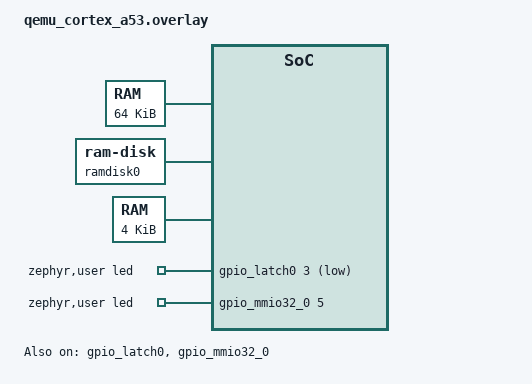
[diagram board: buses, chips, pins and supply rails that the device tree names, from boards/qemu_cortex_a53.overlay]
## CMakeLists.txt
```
# Copyright The Zephyr Project Contributors
# SPDX-License-Identifier: Apache-2.0

cmake_minimum_required(VERSION 3.28.0)

find_package(Zephyr REQUIRED HINTS $ENV{ZEPHYR_BASE})
project(llext_dynamic_device)

target_sources(app PRIVATE src/main.c src/driver_module.c)

# For each extension: the driver built into it, the node label of the device
# that driver defines and the name src/driver_ext.c exports that device as
set(ext_latch_driver gpio_mmio_latch.c)
set(ext_latch_node gpio_latch0)
set(ext_latch_sym gpio_latch_device)
set(ext_mmio32_driver gpio_mmio32.c)
set(ext_mmio32_node gpio_mmio32_0)
set(ext_mmio32_sym gpio_mmio32_device)
set(ext_names latch mmio32)

set(ext_bins)
foreach(ext_name ${ext_names})
  set(ext_bin ${PROJECT_BINARY_DIR}/llext/${ext_name}.llext)
  add_llext_target(${ext_name}_ext
    OUTPUT  ${ext_bin}
    SOURCES
      src/driver_ext.c
      ${ZEPHYR_BASE}/drivers/gpio/${ext_${ext_name}_driver}
  )
  llext_compile_definitions(${ext_name}_ext
    DRIVER_EXT_NODE=${ext_${ext_name}_node}
    DRIVER_EXT_SYM=${ext_${ext_name}_sym}
  )
  list(APPEND ext_bins ${ext_bin})

  if(NOT CONFIG_DRIVER_MODULE_FS)
    # Embed the extension in the image
    generate_inc_file_for_target(app ${ext_bin}
      ${ZEPHYR_BINARY_DIR}/include/generated/${ext_name}_ext.inc)
  endif()
endforeach()

if(NOT CONFIG_DRIVER_MODULE_FS)
  return()
endif()

# FAT image holding the extensions, sized like the RAM disk, which QEMU loads at
# the address given in CONFIG_QEMU_EXTRA_FLAGS
dt_nodelabel(ramdisk_mem NODELABEL ramdisk_mem REQUIRED)
dt_reg_addr(ramdisk_addr PATH ${ramdisk_mem})
dt_reg_size(ramdisk_size PATH ${ramdisk_mem})
dt_comp_path(ramdisk_node COMPATIBLE "zephyr,ram-disk")
dt_prop(sector_size PATH ${ramdisk_node} PROPERTY "sector-size")
dt_prop(sector_count PATH ${ramdisk_node} PROPERTY "sector-count")

math(EXPR ramdisk_addr "${ramdisk_addr}" OUTPUT_FORMAT HEXADECIMAL)
math(EXPR disk_size "${sector_size} * ${sector_count}")
if(NOT CONFIG_QEMU_EXTRA_FLAGS MATCHES "file=ramdisk.img,addr=${ramdisk_addr},")
  message(FATAL_ERROR "CONFIG_QEMU_EXTRA_FLAGS must load ramdisk.img at ${ramdisk_addr}")
endif()
if(NOT disk_size EQUAL ramdisk_size)
  message(FATAL_ERROR "RAM disk size does not match the ramdisk_mem region")
endif()

set(ramdisk_img ${APPLICATION_BINARY_DIR}/ramdisk.img)
find_program(MFORMAT mformat REQUIRED)
find_program(MCOPY mcopy REQUIRED)
add_custom_command(
  OUTPUT ${ramdisk_img}
  COMMAND ${CMAKE_COMMAND} -E rm -f ${ramdisk_img}
  COMMAND ${MFORMAT} -i ${ramdisk_img} -C -T ${sector_count} -h 1 -s ${sector_count}
          -M ${sector_size} ::
  COMMAND ${MCOPY} -i ${ramdisk_img} ${ext_bins} ::
  DEPENDS ${ext_bins}
  COMMENT "Generating RAM disk image with ${ext_names}"
)
add_custom_target(ramdisk_img ALL DEPENDS ${ramdisk_img})

# Also when only a run target is built, e.g. west build -t run
foreach(target run_qemu debugserver_qemu)
  if(TARGET ${target})
    add_dependencies(${target} ramdisk_img)
  endif()
endforeach()
```

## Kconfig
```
# Copyright The Zephyr Project Contributors
# SPDX-License-Identifier: Apache-2.0

mainmenu "LLEXT dynamic device sample"

config DRIVER_MODULE_FS
	bool "Load driver modules from a file system on a RAM disk"
	default y
	depends on DT_HAS_ZEPHYR_RAM_DISK_ENABLED
	select FILE_SYSTEM
	select FAT_FILESYSTEM_ELM
	imply FS_FATFS_LFN
	help
	  Read the driver extensions from a FAT file system on the RAM disk,
	  which QEMU fills with an image generated at build time. Otherwise
	  the extensions are embedded in the image.

# QEMU writes the disk image into the ramdisk_mem region before boot
config QEMU_EXTRA_FLAGS
	default "-device loader,file=ramdisk.img,addr=$(dt_nodelabel_reg_addr_hex,ramdisk_mem),force-raw=on" if DRIVER_MODULE_FS

source "Kconfig.zephyr"
```

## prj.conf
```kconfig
CONFIG_LOG=y
CONFIG_LOG_MODE_IMMEDIATE=y
CONFIG_GPIO=y
# Built into the extension instead of the image
CONFIG_GPIO_MMIO_LATCH=n

CONFIG_LLEXT=y
CONFIG_LLEXT_HEAP_SIZE=64
CONFIG_LLEXT_TYPE_ELF_RELOCATABLE=y

# Device structure in RAM so its driver fields can be filled at runtime
CONFIG_DEVICE_MUTABLE=y
CONFIG_DEVICE_DEINIT_SUPPORT=y

# Loading an llext needs a large stack (see issue #74536)
CONFIG_MAIN_STACK_SIZE=4096
```

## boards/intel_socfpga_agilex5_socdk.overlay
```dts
/*
 * Copyright The Zephyr Project Contributors
 *
 * SPDX-License-Identifier: Apache-2.0
 */

#include <zephyr/dt-bindings/gpio/gpio.h>
#include <zephyr/dt-bindings/memory-attr/memory-attr-arm64.h>

/*
 * The last page of RAM is taken from Zephyr and stands in for the GPIO
 * registers. There is no RAM disk, so the extensions are embedded in the image.
 */
&mem0 {
	reg = <0x80100000 (DT_SIZE_M(8) - 0x1000)>;
};

/ {
	gpio_mem: memory@808ff000 {
		compatible = "zephyr,memory-region";
		reg = <0x808ff000 0x1000>;
		zephyr,memory-region = "GPIO";
		zephyr,memory-attr = <DT_MEM_ARM64_MMU_NORMAL_NC>;
	};

	gpio_latch0: gpio@808ff000 {
		compatible = "gpio-mmio-latch";
		reg = <0x808ff000 0x4>;
		gpio-controller;
		#gpio-cells = <2>;
		ngpios = <8>;
		initial-output = <0x5a>;
		zephyr,mutable;
		zephyr,deferred-init;
		status = "okay";
	};

	gpio_mmio32_0: gpio@808ff004 {
		compatible = "arm,mmio32-gpio";
		reg = <0x808ff004 0x4>;
		gpio-controller;
		#gpio-cells = <1>;
		ngpios = <8>;
		zephyr,mutable;
		zephyr,deferred-init;
		status = "okay";
	};

	zephyr,user {
		led-gpios = <&gpio_latch0 3 GPIO_ACTIVE_LOW>, <&gpio_mmio32_0 5>;
	};
};
```

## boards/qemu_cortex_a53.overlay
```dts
/*
 * Copyright The Zephyr Project Contributors
 *
 * SPDX-License-Identifier: Apache-2.0
 */

#include <zephyr/dt-bindings/gpio/gpio.h>
#include <zephyr/dt-bindings/memory-attr/memory-attr-arm64.h>

/*
 * The top of RAM is taken from Zephyr: 64 KiB hold the RAM disk, which QEMU
 * fills with the disk image before boot, and the last page stands in for the
 * GPIO registers.
 */
&sram0 {
	reg = <0x0 0x40000000 0x0 (DT_SIZE_M(128) - 0x11000)>;
};

/ {
	ramdisk_mem: memory@47fef000 {
		compatible = "zephyr,memory-region";
		reg = <0x0 0x47fef000 0x0 0x10000>;
		zephyr,memory-region = "RAMDISK";
	};

	ramdisk0 {
		compatible = "zephyr,ram-disk";
		disk-name = "RAM";
		sector-size = <512>;
		sector-count = <128>;
		ram-region = <&ramdisk_mem>;
	};

	gpio_mem: memory@47fff000 {
		compatible = "zephyr,memory-region";
		reg = <0x0 0x47fff000 0x0 0x1000>;
		zephyr,memory-region = "GPIO";
		zephyr,memory-attr = <DT_MEM_ARM64_MMU_NORMAL_NC>;
	};

	gpio_latch0: gpio@47fff000 {
		compatible = "gpio-mmio-latch";
		reg = <0x0 0x47fff000 0x0 0x4>;
		gpio-controller;
		#gpio-cells = <2>;
		ngpios = <8>;
		initial-output = <0x5a>;
		zephyr,mutable;
		zephyr,deferred-init;
		status = "okay";
	};

	gpio_mmio32_0: gpio@47fff004 {
		compatible = "arm,mmio32-gpio";
		reg = <0x0 0x47fff004 0x0 0x4>;
		gpio-controller;
		#gpio-cells = <1>;
		ngpios = <8>;
		zephyr,mutable;
		zephyr,deferred-init;
		status = "okay";
	};

	zephyr,user {
		led-gpios = <&gpio_latch0 3 GPIO_ACTIVE_LOW>, <&gpio_mmio32_0 5>;
	};
};
```

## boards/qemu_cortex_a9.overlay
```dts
/*
 * Copyright The Zephyr Project Contributors
 *
 * SPDX-License-Identifier: Apache-2.0
 */

#include <zephyr/dt-bindings/gpio/gpio.h>

/*
 * The on-chip memory is mapped by the SoC and not used by Zephyr. Its first
 * 64 KiB hold the RAM disk, which QEMU fills with the disk image before boot,
 * and its last page stands in for the GPIO registers.
 */
/ {
	ramdisk_mem: memory@1000 {
		compatible = "zephyr,memory-region";
		reg = <0x1000 0x10000>;
		zephyr,memory-region = "RAMDISK";
	};

	ramdisk0 {
		compatible = "zephyr,ram-disk";
		disk-name = "RAM";
		sector-size = <512>;
		sector-count = <128>;
		ram-region = <&ramdisk_mem>;
	};

	gpio_latch0: gpio@2f000 {
		compatible = "gpio-mmio-latch";
		reg = <0x2f000 0x4>;
		gpio-controller;
		#gpio-cells = <2>;
		ngpios = <8>;
		initial-output = <0x5a>;
		zephyr,mutable;
		zephyr,deferred-init;
		status = "okay";
	};

	gpio_mmio32_0: gpio@2f004 {
		compatible = "arm,mmio32-gpio";
		reg = <0x2f004 0x4>;
		gpio-controller;
		#gpio-cells = <1>;
		ngpios = <8>;
		zephyr,mutable;
		zephyr,deferred-init;
		status = "okay";
	};

	zephyr,user {
		led-gpios = <&gpio_latch0 3 GPIO_ACTIVE_LOW>, <&gpio_mmio32_0 5>;
	};
};
```

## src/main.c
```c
/*
 * Copyright The Zephyr Project Contributors
 *
 * SPDX-License-Identifier: Apache-2.0
 */

#include <zephyr/device.h>
#include <zephyr/drivers/gpio.h>
#include <zephyr/logging/log.h>
#include <zephyr/sys/sys_io.h>

#if defined(CONFIG_DRIVER_MODULE_FS)
#include <zephyr/fs/fs.h>
#include <zephyr/llext/fs_loader.h>

#include <ff.h>
#else
#include <zephyr/llext/buf_loader.h>
#endif

#include "driver_module.h"

LOG_MODULE_REGISTER(app, LOG_LEVEL_INF);

#define LATCH_NODE  DT_NODELABEL(gpio_latch0)
#define MMIO32_NODE DT_NODELABEL(gpio_mmio32_0)
#define USER_NODE   DT_PATH(zephyr_user)

#define RAMDISK_MNT "/RAM:"

BUILD_ASSERT(!IS_ENABLED(CONFIG_GPIO_MMIO_LATCH), "the latch driver must only be in the extension");
BUILD_ASSERT(!IS_ENABLED(CONFIG_GPIO_MMIO32), "the mmio32 driver must only be in the extension");
/* The extension's API struct is not in the image's gpio_driver_api section */
BUILD_ASSERT(!IS_ENABLED(CONFIG_DEVICE_API_ASSERT), "CONFIG_DEVICE_API_ASSERT is not supported");
BUILD_ASSERT(DT_REG_SIZE(LATCH_NODE) == 4, "sample reads the latch as a 32-bit register");
BUILD_ASSERT(DT_REG_SIZE(MMIO32_NODE) == 4, "sample reads the mmio32 as a 32-bit register");

DRIVER_MODULE_DEVICE_DEFINE(LATCH_NODE);
DRIVER_MODULE_DEVICE_DEFINE(MMIO32_NODE);

/* A GPIO controller driven from an extension and a pin to drive */
struct dynamic_gpio {
	struct driver_module mod;
	struct gpio_dt_spec led;
};

#if defined(CONFIG_DRIVER_MODULE_FS)
/* FAT file system written to the RAM disk by QEMU, see CMakeLists.txt */
static int ramdisk_mount(const char *mnt_point)
{
	static FATFS fat_fs;
	static struct fs_mount_t mnt = {
		.type = FS_FATFS,
		.fs_data = &fat_fs,
	};
	static bool mounted;
	int ret;

	if (mounted) {
		return 0;
	}

	mnt.mnt_point = mnt_point;
	ret = fs_mount(&mnt);
	if (ret == 0) {
		mounted = true;
	}

	return ret;
}
#endif

static int led_report(const struct dynamic_gpio *gpio)
{
	const struct gpio_dt_spec *led = &gpio->led;
	int logical = gpio_pin_get_dt(led);
	int raw = gpio_pin_get_raw(led->port, led->pin);

	if ((logical < 0) || (raw < 0)) {
		return -EIO;
	}

	LOG_INF("%s pin %u: logical %d, raw %d, reg 0x%02x", led->port->name, led->pin, logical,
		raw, sys_read32(gpio->mod.reg));

	return 0;
}

static int led_exercise(const struct dynamic_gpio *gpio)
{
	int ret;

	ret = gpio_pin_configure_dt(&gpio->led, GPIO_OUTPUT_INACTIVE);
	if (ret != 0) {
		return ret;
	}

	ret = led_report(gpio);
	if (ret != 0) {
		return ret;
	}

	ret = gpio_pin_set_dt(&gpio->led, 1);
	if (ret != 0) {
		return ret;
	}

	ret = led_report(gpio);
	if (ret != 0) {
		return ret;
	}

	ret = gpio_pin_toggle_dt(&gpio->led);
	if (ret != 0) {
		return ret;
	}

	return led_report(gpio);
}

static int gpio_module_run(struct dynamic_gpio *gpio)
{
	struct driver_module *mod = &gpio->mod;
	const char *name = mod->dev->name;
	int ret;

	LOG_INF("%s ready before load: %s", name, gpio_is_ready_dt(&gpio->led) ? "yes" : "no");

	ret = driver_module_load(mod);
	if (ret != 0) {
		LOG_ERR("Failed to load the %s driver: %d", mod->name, ret);
		return ret;
	}

	LOG_INF("%s ready after bind: %s", name, gpio_is_ready_dt(&gpio->led) ? "yes" : "no");

	ret = led_exercise(gpio);
	if (ret != 0) {
		LOG_ERR("GPIO access failed: %d", ret);
	}

	if (driver_module_unload(mod) == 0) {
		LOG_INF("%s ready after unbind: %s", name,
			gpio_is_ready_dt(&gpio->led) ? "yes" : "no");
	}

	return ret;
}

int main(void)
{
#if defined(CONFIG_DRIVER_MODULE_FS)
	static struct llext_fs_loader latch_ldr = LLEXT_FS_LOADER(RAMDISK_MNT "/latch.llext");
	static struct llext_fs_loader mmio32_ldr = LLEXT_FS_LOADER(RAMDISK_MNT "/mmio32.llext");
#else
	static const uint8_t latch_buf[] = {
#include "latch_ext.inc"
	};
	static const uint8_t mmio32_buf[] = {
#include "mmio32_ext.inc"
	};
	static struct llext_buf_loader latch_ldr = LLEXT_BUF_LOADER(latch_buf, sizeof(latch_buf));
	static struct llext_buf_loader mmio32_ldr =
		LLEXT_BUF_LOADER(mmio32_buf, sizeof(mmio32_buf));
#endif
	static struct dynamic_gpio gpios[] = {
		{
			.mod = DRIVER_MODULE_INIT(LATCH_NODE, "latch", &latch_ldr.loader,
						  "gpio_latch_device"),
			.led = GPIO_DT_SPEC_GET_BY_IDX(USER_NODE, led_gpios, 0),
		},
		{
			.mod = DRIVER_MODULE_INIT(MMIO32_NODE, "mmio32", &mmio32_ldr.loader,
						  "gpio_mmio32_device"),
			.led = GPIO_DT_SPEC_GET_BY_IDX(USER_NODE, led_gpios, 1),
		},
	};
	int ret;

#if defined(CONFIG_DRIVER_MODULE_FS)
	ret = ramdisk_mount(RAMDISK_MNT);
	if (ret != 0) {
		LOG_ERR("Failed to mount the RAM disk: %d", ret);
		return ret;
	}
#endif

	for (size_t i = 0; i < ARRAY_SIZE(gpios); i++) {
		ret = gpio_module_run(&gpios[i]);
		if (ret != 0) {
			return ret;
		}
	}

	LOG_INF("Dynamic device sample done");

	return 0;
}
```

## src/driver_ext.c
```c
/*
 * Copyright The Zephyr Project Contributors
 *
 * SPDX-License-Identifier: Apache-2.0
 */

/*
 * Built into each extension. DRIVER_EXT_NODE (a node label) and DRIVER_EXT_SYM
 * are set per extension in CMakeLists.txt.
 */

#include "driver_module.h"

DRIVER_MODULE_EXPORT(DT_NODELABEL(DRIVER_EXT_NODE), DRIVER_EXT_SYM);
```

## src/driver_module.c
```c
/*
 * Copyright The Zephyr Project Contributors
 *
 * SPDX-License-Identifier: Apache-2.0
 */

#include <errno.h>
#include <zephyr/device.h>
#include <zephyr/llext/llext.h>

#include "driver_module.h"

static void dev_clear(struct device *dev)
{
	dev->config = NULL;
	dev->api = NULL;
	dev->data = NULL;
	dev->ops = (struct device_ops){0};
}

static int dev_bind(struct device *dev, const struct device *drv)
{
	int ret;

	if (dev->state->initialized) {
		return -EBUSY;
	}

	dev->config = drv->config;
	dev->api = drv->api;
	dev->data = drv->data;
	dev->ops = drv->ops;

	ret = device_init(dev);
	if (ret != 0) {
		dev_clear(dev);
	}

	return ret;
}

/*
 * Detach the driver without calling its deinit function. Only safe for drivers
 * that register nothing outside their own data (interrupts, threads, callbacks),
 * as nothing is released before the extension is unloaded.
 */
static int dev_unbind(struct device *dev)
{
	dev_clear(dev);
	dev->state->initialized = false;
	dev->state->init_res = 0;

	return 0;
}

int driver_module_load(struct driver_module *mod)
{
	struct llext_load_param ldr_parm = LLEXT_LOAD_PARAM_DEFAULT;
	const struct device *drv;
	struct llext *ext = NULL;
	int ret;

	ret = llext_load(mod->ldr, mod->name, &ext, &ldr_parm);
	if (ret != 0) {
		return ret;
	}

	drv = llext_find_sym(&ext->exp_tab, mod->sym);
	if (drv == NULL) {
		ret = -ENOENT;
		goto unload;
	}

	ret = dev_bind(mod->dev, drv);
	if (ret != 0) {
		goto unload;
	}

	mod->ext = ext;

	return 0;

unload:
	(void)llext_unload(&ext);

	return ret;
}

int driver_module_unload(struct driver_module *mod)
{
	int ret;

	/* the device points into the extension until it is unbound */
	ret = dev_unbind(mod->dev);
	if (ret != 0) {
		return ret;
	}

	(void)llext_unload(&mod->ext);

	return 0;
}
```

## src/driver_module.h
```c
/*
 * Copyright The Zephyr Project Contributors
 *
 * SPDX-License-Identifier: Apache-2.0
 */

#ifndef DRIVER_MODULE_H_
#define DRIVER_MODULE_H_

#include <zephyr/device.h>
#include <zephyr/llext/llext.h>
#include <zephyr/llext/loader.h>
#include <zephyr/llext/symbol.h>
#include <zephyr/sys/sys_io.h>

/**
 * @brief Export the device a driver defines, from the extension it is built into
 *
 * Used in a source file built into the extension together with the unmodified
 * driver. The exported device is the template driver_module_load() looks up
 * by @p sym.
 *
 * @param node_id Devicetree node identifier of the device the driver defines
 * @param sym Name to export the device as
 */
#define DRIVER_MODULE_EXPORT(node_id, sym) EXPORT_SYMBOL_NAMED(DEVICE_DT_NAME_GET(node_id), sym)

/**
 * @brief Define a device whose driver is loaded from an extension
 *
 * Defines the device for @p node_id with no init function, API, config or
 * data; driver_module_load() fills them in. The node must have
 * zephyr,mutable, so the struct device is in RAM, and zephyr,deferred-init, so
 * the kernel does not initialize it at boot.
 *
 * @param node_id Devicetree node identifier
 */
#define DRIVER_MODULE_DEVICE_DEFINE(node_id)                                                       \
	BUILD_ASSERT(DT_PROP(node_id, zephyr_mutable),                                             \
		     DT_NODE_FULL_NAME(node_id) " must be zephyr,mutable");                        \
	BUILD_ASSERT(DT_PROP(node_id, zephyr_deferred_init),                                       \
		     DT_NODE_FULL_NAME(node_id) " must be zephyr,deferred-init");                  \
	DEVICE_DT_DEFINE(node_id, NULL, NULL, NULL, NULL, POST_KERNEL,                             \
			 CONFIG_KERNEL_INIT_PRIORITY_DEVICE, NULL)

/** A driver extension and the device its driver is bound to */
struct driver_module {
	/** Extension name */
	const char *name;
	/** Loader to read the extension ELF image from */
	struct llext_loader *ldr;
	/** Name of the struct device exported by the extension */
	const char *sym;
	/** Device defined with DRIVER_MODULE_DEVICE_DEFINE() to bind the driver to */
	struct device *dev;
	/** Register base address of the device, 0 if it has none; not used by the driver */
	mem_addr_t reg;
	/** Loaded extension, NULL when not loaded */
	struct llext *ext;
};

/* Address of the first register block of a node, 0 if it has none */
#define DRIVER_MODULE_REG_ADDR(node_id)                                                            \
	COND_CODE_1(DT_REG_HAS_IDX(node_id, 0), (DT_REG_ADDR(node_id)), (0))

/**
 * @brief Initializer for a struct driver_module
 *
 * @param node_id Devicetree node of a device defined with
 *                DRIVER_MODULE_DEVICE_DEFINE()
 * @param _name Extension name
 * @param _ldr Loader to read the extension ELF image from
 * @param _sym Name of the struct device exported by the extension
 */
#define DRIVER_MODULE_INIT(node_id, _name, _ldr, _sym)                                             \
	{                                                                                          \
		.name = (_name),                                                                   \
		.ldr = (_ldr),                                                                     \
		.sym = (_sym),                                                                     \
		.dev = DEVICE_DT_GET(node_id),                                                     \
		.reg = DRIVER_MODULE_REG_ADDR(node_id),                                            \
	}

/**
 * @brief Load a driver extension and bind its driver to a device
 *
 * Loads the extension through @p mod->ldr, looks up the struct device
 * @p mod->sym it exports and copies its ops, API, config and data into
 * @p mod->dev, then initializes the device with device_init().
 *
 * @param mod Driver module
 *
 * @retval 0 Success
 * @retval -EBUSY @p mod->dev is already initialized
 * @retval -ENOENT @p mod->sym is not exported by the extension
 * @retval -errno Other error from llext_load() or the driver init function
 */
int driver_module_load(struct driver_module *mod);

/**
 * @brief Unbind a driver from its device and unload its extension
 *
 * Clears the fields taken from the extension and marks the device as not
 * initialized, then unloads the extension. The driver's deinit function is not
 * called, so this is only safe for drivers that register nothing outside their
 * own data, such as interrupts, threads or callbacks.
 *
 * @param mod Module state from driver_module_load()
 *
 * @retval 0 Success
 */
int driver_module_unload(struct driver_module *mod);

#endif /* DRIVER_MODULE_H_ */
```
